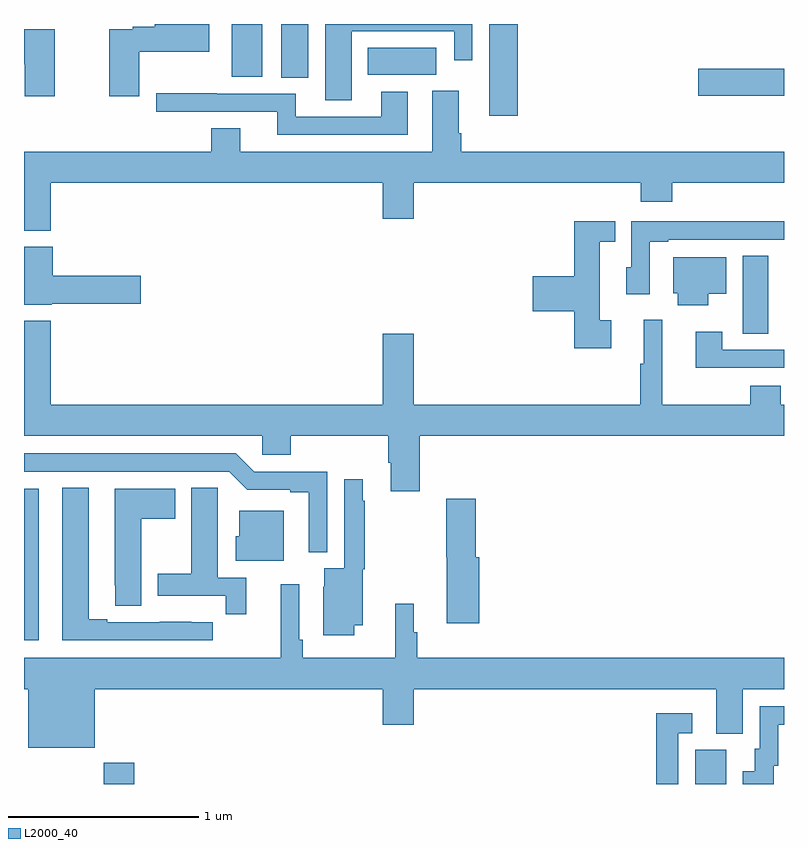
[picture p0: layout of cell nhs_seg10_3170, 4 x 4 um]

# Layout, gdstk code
import gdstk
lib = gdstk.Library(unit=1e-6, precision=1e-09)
def R(c, l, rs):  # rectangles x0, y0, x1, y1
    for r in rs: c.add(gdstk.rectangle(r[:2], r[2:], *l))
def P(c, l, *ps):  # polygons
    for p in ps: c.add(gdstk.Polygon(p, *l))
L2000_40 = (2000, 40)

nhs_seg10_3170 = lib.new_cell('nhs_seg10_3170')
R(nhs_seg10_3170, L2000_40, [(283.42,1282.5,283.58,1282.612), (286.532,1282.5,286.696,1282.68), (283,1283.256,283.078,1284.054), (286.784,1284.871,286.918,1285.28), (285.449,1286.016,285.599,1286.5), (286.548,1286.122,287,1286.264), (284.354,1286.218,284.497,1286.5), (284.093,1286.222,284.254,1286.5), (284.81,1286.234,285.169,1286.374)])
P(nhs_seg10_3170, L2000_40, [(283.606,1286.354),(283.975,1286.354),(283.975,1286.5),(283.688,1286.5),(283.688,1286.486),(283.572,1286.486),(283.572,1286.473),(283.448,1286.473),(283.448,1286.121),(283.606,1286.121)],
  [(284.725,1286.462),(285.264,1286.462),(285.264,1286.31),(285.36,1286.31),(285.36,1286.5),(284.585,1286.5),(284.585,1286.098),(284.725,1286.098)],
  [(283.162,1286.473),(283,1286.473),(283,1286.288),(283.004,1286.288),(283.004,1286.121),(283.162,1286.121)],
  [(283.142,1285.664),(284.888,1285.664),(284.888,1285.476),(285.052,1285.476),(285.052,1285.664),(286.247,1285.664),(286.247,1285.565),(286.412,1285.565),(286.412,1285.664),(287,1285.664),(287,1285.828),(285.302,1285.828),(285.302,1285.924),(285.289,1285.924),(285.289,1286.149),(285.149,1286.149),(285.149,1285.828),(284.137,1285.828),(284.137,1285.952),(283.985,1285.952),(283.985,1285.828),(283,1285.828),(283,1285.412),(283.142,1285.412)],
  [(285.019,1286.143),(284.879,1286.143),(284.879,1286.013),(284.431,1286.013),(284.431,1286.133),(284.015,1286.133),(284.015,1286.136),(283.695,1286.136),(283.695,1286.037),(284.333,1286.037),(284.333,1285.917),(285.019,1285.917)],
  [(286.09,1284.942),(286.03,1284.942),(286.03,1285.353),(286.112,1285.353),(286.112,1285.463),(285.896,1285.463),(285.896,1285.172),(285.678,1285.172),(285.678,1284.989),(285.896,1284.989),(285.896,1284.794),(286.09,1284.794)],
  [(286.293,1285.353),(286.39,1285.353),(286.39,1285.365),(287,1285.365),(287,1285.463),(286.495,1285.463),(286.495,1285.461),(286.197,1285.461),(286.197,1285.221),(286.169,1285.221),(286.169,1285.077),(286.293,1285.077)],
  [(283.146,1285.028),(283.615,1285.028),(283.615,1285.175),(283.15,1285.175),(283.15,1285.327),(283,1285.327),(283,1285.022),(283.146,1285.022)],
  [(286.6,1285.079),(286.696,1285.079),(286.696,1285.273),(286.418,1285.273),(286.418,1285.083),(286.442,1285.083),(286.442,1285.019),(286.6,1285.019)],
  [(285.083,1284.332),(287,1284.332),(287,1284.496),(286.982,1284.496),(286.982,1284.595),(286.822,1284.595),(286.822,1284.496),(286.36,1284.496),(286.36,1284.943),(286.262,1284.943),(286.262,1284.711),(286.243,1284.711),(286.243,1284.496),(285.052,1284.496),(285.052,1284.871),(284.888,1284.871),(284.888,1284.496),(283.142,1284.496),(283.142,1284.937),(283,1284.937),(283,1284.332),(284.253,1284.332),(284.253,1284.234),(284.405,1284.234),(284.405,1284.332),(284.918,1284.332),(284.918,1284.19),(284.93,1284.19),(284.93,1284.042),(285.083,1284.042)],
  [(287,1284.786),(286.675,1284.786),(286.675,1284.88),(286.535,1284.88),(286.535,1284.69),(287,1284.69)],
  [(284.595,1284.144),(284.211,1284.144),(284.115,1284.24),(283,1284.24),(283,1284.144),(284.079,1284.144),(284.175,1284.048),(284.402,1284.048),(284.402,1284.036),(284.498,1284.036),(284.498,1283.72),(284.595,1283.72)],
  [(284.737,1283.336),(284.782,1283.336),(284.782,1283.631),(284.794,1283.631),(284.794,1283.99),(284.782,1283.99),(284.782,1284.103),(284.685,1284.103),(284.685,1283.635),(284.579,1283.635),(284.579,1283.538),(284.576,1283.538),(284.576,1283.283),(284.737,1283.283)],
  [(283.993,1283.352),(283.88,1283.352),(283.88,1283.353),(283.714,1283.353),(283.714,1283.352),(283.438,1283.352),(283.438,1283.367),(283.342,1283.367),(283.342,1284.059),(283.202,1284.059),(283.202,1283.256),(283.993,1283.256)],
  [(284.171,1283.586),(284.02,1283.586),(284.02,1283.948),(284.019,1283.948),(284.019,1284.059),(283.88,1284.059),(283.88,1283.607),(283.703,1283.607),(283.703,1283.49),(284.062,1283.49),(284.062,1283.394),(284.171,1283.394)],
  [(283.618,1283.896),(283.795,1283.896),(283.795,1284.055),(283.478,1284.055),(283.478,1283.545),(283.479,1283.545),(283.479,1283.437),(283.618,1283.437)],
  [(285.395,1283.694),(285.377,1283.694),(285.377,1284.001),(285.223,1284.001),(285.223,1283.694),(285.224,1283.694),(285.224,1283.346),(285.395,1283.346)],
  [(284.368,1283.938),(284.132,1283.938),(284.132,1283.805),(284.114,1283.805),(284.114,1283.675),(284.368,1283.675)],
  [(283.372,1283),(284.888,1283),(284.888,1282.812),(285.052,1282.812),(285.052,1283),(286.643,1283),(286.643,1282.765),(286.783,1282.765),(286.783,1283),(287,1283),(287,1283.164),(285.071,1283.164),(285.071,1283.298),(285.052,1283.298),(285.052,1283.449),(284.954,1283.449),(284.954,1283.164),(284.468,1283.164),(284.468,1283.26),(284.448,1283.26),(284.448,1283.551),(284.351,1283.551),(284.351,1283.164),(283,1283.164),(283,1283),(283.022,1283),(283.022,1282.691),(283.372,1282.691)],
  [(286.945,1282.596),(286.969,1282.596),(286.969,1282.812),(287,1282.812),(287,1282.908),(286.872,1282.908),(286.872,1282.686),(286.847,1282.686),(286.847,1282.567),(286.784,1282.567),(286.784,1282.5),(286.945,1282.5)],
  [(286.443,1282.767),(286.516,1282.767),(286.516,1282.873),(286.327,1282.873),(286.327,1282.5),(286.443,1282.5)])

lib.write_gds('nhs_seg10_3170.gds')
